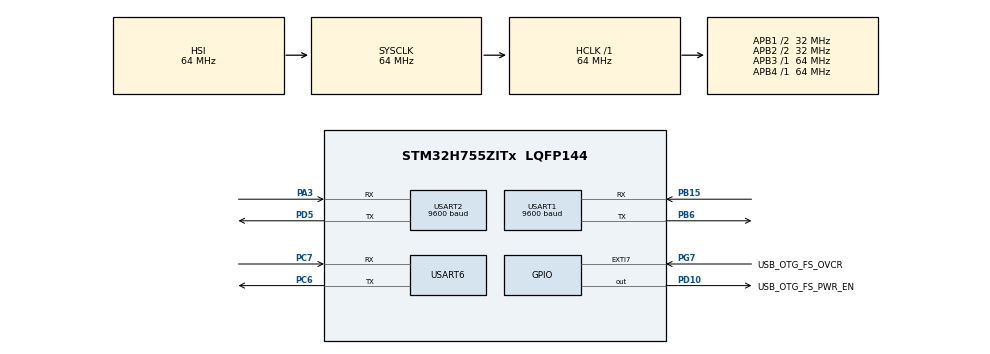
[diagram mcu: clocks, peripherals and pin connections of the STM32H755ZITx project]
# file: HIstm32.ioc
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CortexM4.IPs=FATFS_M4\:I,FREERTOS_M4\:I,IWDG2\:I,RCC,WWDG2\:I,DMA,BDMA,MDMA,NVIC2\:I,ETH,DEBUG,PDM2PCM_M4\:I,PWR,RESMGR_UTILITY,SYS_M4\:I,USB_DEVICE_M4\:I,USB_HOST_M4\:I,CORTEX_M4\:I,GPIO,OPENAMP_M4\:I,VREFBUF,NUCLEO-H755ZI-Q
CortexM7.IPs=FATFS_M7\:I,FREERTOS_M7\:I,IWDG1\:I,RCC\:I,WWDG1\:I,DMA\:I,BDMA\:I,MDMA\:I,NVIC1\:I,ETH\:I,USART3\:I,USB_OTG_FS\:I,USB_OTG_FS1\:I,SYS\:I,CORTEX_M7\:I,DEBUG\:I,PDM2PCM_M7\:I,PWR\:I,RESMGR_UTILITY\:I,USB_DEVICE_M7\:I,USB_HOST_M7\:I,GPIO\:I,OPENAMP_M7\:I,VREFBUF\:I,NUCLEO-H755ZI-Q\:I,USART1\:I,USART2\:I,USART6\:I
Mcu.Family=STM32H7
Mcu.Name=STM32H755ZITx
Mcu.Package=LQFP144
NUCLEO-H755ZI-Q.BUTTON=1
NUCLEO-H755ZI-Q.LD1=true
NUCLEO-H755ZI-Q.LD2=true
NUCLEO-H755ZI-Q.LD3=true
NUCLEO-H755ZI-Q.VCP=true
NVIC1.EXTI15_10_IRQn=true\:0\:0\:false\:false\:true\:false\:true\:true
NVIC1.PriorityGroup=NVIC_PRIORITYGROUP_4
NVIC1.USART1_IRQn=true\:0\:0\:false\:false\:true\:true\:true\:true
NVIC1.USART2_IRQn=true\:0\:0\:false\:false\:true\:true\:true\:true
NVIC2.PriorityGroup=NVIC_PRIORITYGROUP_4
PA1.PinAttribute=CortexM7
PA1.Signal=ETH_REF_CLK
PA11.PinAttribute=CortexM7
PA11.Signal=USB_OTG_FS_DM
PA12.PinAttribute=CortexM7
PA12.Signal=USB_OTG_FS_DP
PA2.PinAttribute=CortexM7
PA2.Signal=ETH_MDIO
PA3.Mode=Asynchronous
PA3.PinAttribute=CortexM7
PA3.Signal=USART2_RX
PA7.PinAttribute=CortexM7
PA7.Signal=ETH_CRS_DV
PA8.PinAttribute=CortexM7
PA8.Signal=USB_OTG_FS_SOF
PA9.PinAttribute=CortexM7
PA9.Signal=USB_OTG_FS_VBUS
PB13.PinAttribute=CortexM7
PB13.Signal=ETH_TXD1
PB15.Mode=Asynchronous
PB15.PinAttribute=CortexM7
PB15.Signal=USART1_RX
PB6.Mode=Asynchronous
PB6.PinAttribute=CortexM7
PB6.Signal=USART1_TX
PC1.PinAttribute=CortexM7
PC1.Signal=ETH_MDC
PC14-OSC32_IN\ (OSC32_IN).PinAttribute=Free
PC14-OSC32_IN\ (OSC32_IN).Signal=RCC_OSC32_IN
PC15-OSC32_OUT\ (OSC32_OUT).PinAttribute=Free
PC15-OSC32_OUT\ (OSC32_OUT).Signal=RCC_OSC32_OUT
PC4.PinAttribute=CortexM7
PC4.Signal=ETH_RXD0
PC5.PinAttribute=CortexM7
PC5.Signal=ETH_RXD1
PC6.Mode=Asynchronous
PC6.PinAttribute=CortexM7
PC6.Signal=USART6_TX
PC7.Mode=Asynchronous
PC7.PinAttribute=CortexM7
PC7.Signal=USART6_RX
PD10.GPIO_Label=USB_OTG_FS_PWR_EN
PD10.PinAttribute=Free
PD10.Signal=GPIO_Output
PD5.Mode=Asynchronous
PD5.PinAttribute=CortexM7
PD5.Signal=USART2_TX
PD8.Signal=USART3_TX
PD9.Signal=USART3_RX
PG11.PinAttribute=CortexM7
PG11.Signal=ETH_TX_EN
PG13.PinAttribute=CortexM7
PG13.Signal=ETH_TXD0
PG7.GPIO_Label=USB_OTG_FS_OVCR
PG7.PinAttribute=Free
PG7.Signal=GPXTI7
PH0-OSC_IN\ (PH0).PinAttribute=Free
PH0-OSC_IN\ (PH0).Signal=RCC_OSC_IN
PH1-OSC_OUT\ (PH1).PinAttribute=Free
PH1-OSC_OUT\ (PH1).Signal=RCC_OSC_OUT
ProjectManager.HeapSize=M4-0x200,M7-0x200
ProjectManager.StackSize=M4-0x400,M7-0x400
ProjectManager.TargetToolchain=STM32CubeIDE
RCC.ADCFreq_Value=129000000
RCC.APB1Freq_Value=32000000
RCC.APB2Freq_Value=32000000
RCC.APB3Freq_Value=64000000
RCC.APB4Freq_Value=64000000
RCC.CortexFreq_Value=64000000
RCC.D2PPRE1=RCC_APB1_DIV2
RCC.D2PPRE2=RCC_APB2_DIV2
RCC.DIVM1=5
RCC.DIVN1=48
RCC.DIVQ1=5
RCC.HCLKFreq_Value=64000000
RCC.PLL2FRACN=0
RCC.PLL3FRACN=0
RCC.PLLFRACN=0
RCC.SYSCLKFreq_VALUE=64000000
RCC.SupplySource=PWR_DIRECT_SMPS_SUPPLY
RCC.USBFreq_Value=122880000
USART1.BaudRate=9600
USART1.VirtualMode-Asynchronous=VM_ASYNC
USART2.BaudRate=9600
USART2.VirtualMode-Asynchronous=VM_ASYNC
USART6.VirtualMode-Asynchronous=VM_ASYNC
VP_NUCLEO-H755ZI-Q_VS_BSP_COMMON.Mode=COMMON
VP_SYS_M4_VS_Systick.Mode=SysTick
board=NUCLEO-H755ZI-Q

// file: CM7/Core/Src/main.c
/* USER CODE BEGIN Header */
/**
  ******************************************************************************
  * @file           : main.c
  * @brief          : Main program body
  ******************************************************************************
  * @attention
  *
  * Copyright (c) 2026 STMicroelectronics.
  * All rights reserved.
  *
  * This software is licensed under terms that can be found in the LICENSE file
  * in the root directory of this software component.
  * If no LICENSE file comes with this software, it is provided AS-IS.
  *
  ******************************************************************************
  */
/* USER CODE END Header */
#include "main.h"

/* USER CODE BEGIN Includes */
#include <stdio.h>
/* USER CODE END Includes */

/* USER CODE BEGIN PD */

/* DUAL_CORE_BOOT_SYNC_SEQUENCE: Define for dual core boot synchronization    */
/*                             demonstration code based on hardware semaphore */
/* This define is present in both CM7/CM4 projects                            */
/* To comment when developping/debugging on a single core                     */
#define DUAL_CORE_BOOT_SYNC_SEQUENCE

#if defined(DUAL_CORE_BOOT_SYNC_SEQUENCE)
#ifndef HSEM_ID_0
#define HSEM_ID_0 (0U) /* HW semaphore 0*/
#endif
#endif /* DUAL_CORE_BOOT_SYNC_SEQUENCE */

/* USER CODE END PD */

COM_InitTypeDef BspCOMInit;

UART_HandleTypeDef huart1;
UART_HandleTypeDef huart2;
UART_HandleTypeDef huart6;

/* USER CODE BEGIN PV */
#include <string.h>

extern UART_HandleTypeDef huart1;
extern UART_HandleTypeDef huart2;

float em2m_voltage = 0.0f;
float em2m_current = 0.0f;
float em2m_power   = 0.0f;

float em4m_voltage = 0.0f;
float em4m_current = 0.0f;
float em4m_power   = 0.0f;
/* USER CODE END PV */

void SystemClock_Config(void);
static void MX_GPIO_Init(void);
static void MX_USART1_UART_Init(void);
static void MX_USART2_UART_Init(void);
static void MX_USART6_UART_Init(void);

/* USER CODE BEGIN 0 */
uint16_t Modbus_CRC16(uint8_t *buffer, uint16_t len) {
    uint16_t crc = 0xFFFF;
    for (uint16_t pos = 0; pos < len; pos++) {
        crc ^= (uint16_t)buffer[pos];
        for (int i = 8; i != 0; i--) {
            if ((crc & 0x0001) != 0) {
                crc >>= 1;
                crc ^= 0xA001;
            } else {
                crc >>= 1;
            }
        }
    }
    return crc;
}

// EM4M is Big Endian (ABCD) -> convert to STM32 (DCBA)
float EM4M_BytesToFloat(uint8_t *data) {
    float val;
    uint8_t *val_ptr = (uint8_t*)&val;
    val_ptr[0] = data[3]; // LSB
    val_ptr[1] = data[2];
    val_ptr[2] = data[1];
    val_ptr[3] = data[0]; // MSB
    return val;
}

// EM2M is Swapped (CDAB) -> convert to STM32 (DCBA)
float EM2M_BytesToFloat(uint8_t *data) {
    float val;
    uint8_t *val_ptr = (uint8_t*)&val;
    val_ptr[0] = data[1]; // D
    val_ptr[1] = data[0]; // C
    val_ptr[2] = data[3]; // B
    val_ptr[3] = data[2]; // A
    return val;
}

// Function to poll the EM2M Meter
uint8_t Read_EM2M(UART_HandleTypeDef *huart, uint8_t slave_id, uint16_t reg_addr, float *out_value) {
    uint8_t request[8] = {slave_id, 0x04, (reg_addr >> 8) & 0xFF, reg_addr & 0xFF, 0x00, 0x02, 0, 0};
    uint16_t crc = Modbus_CRC16(request, 6);
    request[6] = crc & 0xFF; request[7] = (crc >> 8) & 0xFF;

    if (HAL_UART_Transmit(huart, request, 8, 100) != HAL_OK) return 0;
    uint8_t response[9];
    if (HAL_UART_Receive(huart, response, 9, 200) != HAL_OK) return 0;

    uint16_t rx_crc = (response[8] << 8) | response[7];
    if (Modbus_CRC16(response, 7) != rx_crc) return 0;

    *out_value = EM2M_BytesToFloat(&response[3]);
    return 1;
}

// Function to poll the EM4M Meter
uint8_t Read_EM4M(UART_HandleTypeDef *huart, uint8_t slave_id, uint16_t reg_addr, float *out_value) {
    uint8_t request[8] = {slave_id, 0x04, (reg_addr >> 8) & 0xFF, reg_addr & 0xFF, 0x00, 0x02, 0, 0};
    uint16_t crc = Modbus_CRC16(request, 6);
    request[6] = crc & 0xFF; request[7] = (crc >> 8) & 0xFF;

    if (HAL_UART_Transmit(huart, request, 8, 100) != HAL_OK) return 0;
    uint8_t response[9];
    if (HAL_UART_Receive(huart, response, 9, 200) != HAL_OK) return 0;

    uint16_t rx_crc = (response[8] << 8) | response[7];
    if (Modbus_CRC16(response, 7) != rx_crc) return 0;

    *out_value = EM4M_BytesToFloat(&response[3]);
    return 1;
}
/* USER CODE END 0 */

int main(void)
{
  /* USER CODE BEGIN 1 */
  char tx_buffer[128];
  /* USER CODE END 1 */
/* USER CODE BEGIN Boot_Mode_Sequence_0 */
#if defined(DUAL_CORE_BOOT_SYNC_SEQUENCE)
  int32_t timeout;
#endif /* DUAL_CORE_BOOT_SYNC_SEQUENCE */
/* USER CODE END Boot_Mode_Sequence_0 */

/* USER CODE BEGIN Boot_Mode_Sequence_1 */
#if defined(DUAL_CORE_BOOT_SYNC_SEQUENCE)
  /* Wait until CPU2 boots and enters in stop mode or timeout*/
  timeout = 0xFFFF;
  while((__HAL_RCC_GET_FLAG(RCC_FLAG_D2CKRDY) != RESET) && (timeout-- > 0));
  if ( timeout < 0 )
  {
  Error_Handler();
  }
#endif /* DUAL_CORE_BOOT_SYNC_SEQUENCE */
/* USER CODE END Boot_Mode_Sequence_1 */
  /* MCU Configuration--------------------------------------------------------*/

  /* Reset of all peripherals, Initializes the Flash interface and the Systick. */
  HAL_Init();

  /* Configure the system clock */
  SystemClock_Config();
/* USER CODE BEGIN Boot_Mode_Sequence_2 */
#if defined(DUAL_CORE_BOOT_SYNC_SEQUENCE)
/* When system initialization is finished, Cortex-M7 will release Cortex-M4 by means of
HSEM notification */
/*HW semaphore Clock enable*/
__HAL_RCC_HSEM_CLK_ENABLE();
/*Take HSEM */
HAL_HSEM_FastTake(HSEM_ID_0);
/*Release HSEM in order to notify the CPU2(CM4)*/
HAL_HSEM_Release(HSEM_ID_0,0);
/* wait until CPU2 wakes up from stop mode */
timeout = 0xFFFF;
while((__HAL_RCC_GET_FLAG(RCC_FLAG_D2CKRDY) == RESET) && (timeout-- > 0));
if ( timeout < 0 )
{
Error_Handler();
}
#endif /* DUAL_CORE_BOOT_SYNC_SEQUENCE */
/* USER CODE END Boot_Mode_Sequence_2 */

  /* Initialize all configured peripherals */
  MX_GPIO_Init();
  MX_USART1_UART_Init();
  MX_USART2_UART_Init();
  MX_USART6_UART_Init();

  /* Initialize leds */
  BSP_LED_Init(LED_GREEN);
  BSP_LED_Init(LED_YELLOW);
  BSP_LED_Init(LED_RED);

  /* Initialize USER push-button, will be used to trigger an interrupt each time it's pressed.*/
  BSP_PB_Init(BUTTON_USER, BUTTON_MODE_EXTI);

  /* Initialize COM1 port (115200, 8 bits (7-bit data + 1 stop bit), no parity */
  BspCOMInit.BaudRate   = 115200;
  BspCOMInit.WordLength = COM_WORDLENGTH_8B;
  BspCOMInit.StopBits   = COM_STOPBITS_1;
  BspCOMInit.Parity     = COM_PARITY_NONE;
  BspCOMInit.HwFlowCtl  = COM_HWCONTROL_NONE;
  if (BSP_COM_Init(COM1, &BspCOMInit) != BSP_ERROR_NONE)
  {
    Error_Handler();
  }

  /* Infinite loop */
    /* USER CODE BEGIN WHILE */

    while (1)
    {
        // Poll EM2M (Single Phase Meter) on USART2
        // Registers: Voltage L-N (0x14), Current (0x16), Active Power (0x0E)[cite: 10]
        Read_EM2M(&huart2, 1, 0x0014, &em2m_voltage);
        HAL_Delay(50);

        Read_EM2M(&huart2, 1, 0x0016, &em2m_current);
        HAL_Delay(50);

        Read_EM2M(&huart2, 1, 0x000E, &em2m_power);
        HAL_Delay(100);

        // Poll EM4M (Three Phase Meter) on USART1
        // Registers: Voltage V1N (0x00), Current I1 (0x10), Active Power kW1 (0x18)[cite: 7]
        Read_EM4M(&huart1, 1, 0x0000, &em4m_voltage);
        HAL_Delay(50);

        Read_EM4M(&huart1, 1, 0x0010, &em4m_current);
        HAL_Delay(50);

        Read_EM4M(&huart1, 1, 0x0018, &em4m_power);

        // --- Format and transmit data to Raspberry Pi ---
        snprintf(tx_buffer, sizeof(tx_buffer),
                 "EM2M: V=%.2f, I=%.2f, P=%.2f | EM4M: V=%.2f, I=%.2f, P=%.2f\n",
                 em2m_voltage, em2m_current, em2m_power,
                 em4m_voltage, em4m_current, em4m_power);

        HAL_UART_Transmit(&huart6, (uint8_t*)tx_buffer, strlen(tx_buffer), 100);

        HAL_Delay(1000); // Wait 1 second before starting the next full polling cycle
      /* USER CODE END WHILE */

    }
}

void SystemClock_Config(void)
{
  RCC_OscInitTypeDef RCC_OscInitStruct = {0};
  RCC_ClkInitTypeDef RCC_ClkInitStruct = {0};

  /** Supply configuration update enable
  */
  HAL_PWREx_ConfigSupply(PWR_DIRECT_SMPS_SUPPLY);

  /** Configure the main internal regulator output voltage
  */
  __HAL_PWR_VOLTAGESCALING_CONFIG(PWR_REGULATOR_VOLTAGE_SCALE3);

  while(!__HAL_PWR_GET_FLAG(PWR_FLAG_VOSRDY)) {}

  /** Initializes the RCC Oscillators according to the specified parameters
  * in the RCC_OscInitTypeDef structure.
  */
  RCC_OscInitStruct.OscillatorType = RCC_OSCILLATORTYPE_HSI;
  RCC_OscInitStruct.HSIState = RCC_HSI_DIV1;
  RCC_OscInitStruct.HSICalibrationValue = RCC_HSICALIBRATION_DEFAULT;
  RCC_OscInitStruct.PLL.PLLState = RCC_PLL_NONE;
  if (HAL_RCC_OscConfig(&RCC_OscInitStruct) != HAL_OK)
  {
    Error_Handler();
  }

  /** Initializes the CPU, AHB and APB buses clocks
  */
  RCC_ClkInitStruct.ClockType = RCC_CLOCKTYPE_HCLK|RCC_CLOCKTYPE_SYSCLK
                              |RCC_CLOCKTYPE_PCLK1|RCC_CLOCKTYPE_PCLK2
                              |RCC_CLOCKTYPE_D3PCLK1|RCC_CLOCKTYPE_D1PCLK1;
  RCC_ClkInitStruct.SYSCLKSource = RCC_SYSCLKSOURCE_HSI;
  RCC_ClkInitStruct.SYSCLKDivider = RCC_SYSCLK_DIV1;
  RCC_ClkInitStruct.AHBCLKDivider = RCC_HCLK_DIV1;
  RCC_ClkInitStruct.APB3CLKDivider = RCC_APB3_DIV1;
  RCC_ClkInitStruct.APB1CLKDivider = RCC_APB1_DIV2;
  RCC_ClkInitStruct.APB2CLKDivider = RCC_APB2_DIV2;
  RCC_ClkInitStruct.APB4CLKDivider = RCC_APB4_DIV1;

  if (HAL_RCC_ClockConfig(&RCC_ClkInitStruct, FLASH_LATENCY_1) != HAL_OK)
  {
    Error_Handler();
  }
}

static void MX_USART1_UART_Init(void)
{

  huart1.Instance = USART1;
  huart1.Init.BaudRate = 9600;
  huart1.Init.WordLength = UART_WORDLENGTH_8B;
  huart1.Init.StopBits = UART_STOPBITS_1;
  huart1.Init.Parity = UART_PARITY_NONE;
  huart1.Init.Mode = UART_MODE_TX_RX;
  huart1.Init.HwFlowCtl = UART_HWCONTROL_NONE;
  huart1.Init.OverSampling = UART_OVERSAMPLING_16;
  huart1.Init.OneBitSampling = UART_ONE_BIT_SAMPLE_DISABLE;
  huart1.Init.ClockPrescaler = UART_PRESCALER_DIV1;
  huart1.AdvancedInit.AdvFeatureInit = UART_ADVFEATURE_NO_INIT;
  if (HAL_UART_Init(&huart1) != HAL_OK)
  {
    Error_Handler();
  }
  if (HAL_UARTEx_SetTxFifoThreshold(&huart1, UART_TXFIFO_THRESHOLD_1_8) != HAL_OK)
  {
    Error_Handler();
  }
  if (HAL_UARTEx_SetRxFifoThreshold(&huart1, UART_RXFIFO_THRESHOLD_1_8) != HAL_OK)
  {
    Error_Handler();
  }
  if (HAL_UARTEx_DisableFifoMode(&huart1) != HAL_OK)
  {
    Error_Handler();
  }

}

static void MX_USART2_UART_Init(void)
{

  huart2.Instance = USART2;
  huart2.Init.BaudRate = 9600;
  huart2.Init.WordLength = UART_WORDLENGTH_8B;
  huart2.Init.StopBits = UART_STOPBITS_1;
  huart2.Init.Parity = UART_PARITY_NONE;
  huart2.Init.Mode = UART_MODE_TX_RX;
  huart2.Init.HwFlowCtl = UART_HWCONTROL_NONE;
  huart2.Init.OverSampling = UART_OVERSAMPLING_16;
  huart2.Init.OneBitSampling = UART_ONE_BIT_SAMPLE_DISABLE;
  huart2.Init.ClockPrescaler = UART_PRESCALER_DIV1;
  huart2.AdvancedInit.AdvFeatureInit = UART_ADVFEATURE_NO_INIT;
  if (HAL_UART_Init(&huart2) != HAL_OK)
  {
    Error_Handler();
  }
  if (HAL_UARTEx_SetTxFifoThreshold(&huart2, UART_TXFIFO_THRESHOLD_1_8) != HAL_OK)
  {
    Error_Handler();
  }
  if (HAL_UARTEx_SetRxFifoThreshold(&huart2, UART_RXFIFO_THRESHOLD_1_8) != HAL_OK)
  {
    Error_Handler();
  }
  if (HAL_UARTEx_DisableFifoMode(&huart2) != HAL_OK)
  {
    Error_Handler();
  }

}

static void MX_USART6_UART_Init(void)
{

  huart6.Instance = USART6;
  huart6.Init.BaudRate = 115200;
  huart6.Init.WordLength = UART_WORDLENGTH_8B;
  huart6.Init.StopBits = UART_STOPBITS_1;
  huart6.Init.Parity = UART_PARITY_NONE;
  huart6.Init.Mode = UART_MODE_TX_RX;
  huart6.Init.HwFlowCtl = UART_HWCONTROL_NONE;
  huart6.Init.OverSampling = UART_OVERSAMPLING_16;
  huart6.Init.OneBitSampling = UART_ONE_BIT_SAMPLE_DISABLE;
  huart6.Init.ClockPrescaler = UART_PRESCALER_DIV1;
  huart6.AdvancedInit.AdvFeatureInit = UART_ADVFEATURE_NO_INIT;
  if (HAL_UART_Init(&huart6) != HAL_OK)
  {
    Error_Handler();
  }
  if (HAL_UARTEx_SetTxFifoThreshold(&huart6, UART_TXFIFO_THRESHOLD_1_8) != HAL_OK)
  {
    Error_Handler();
  }
  if (HAL_UARTEx_SetRxFifoThreshold(&huart6, UART_RXFIFO_THRESHOLD_1_8) != HAL_OK)
  {
    Error_Handler();
  }
  if (HAL_UARTEx_DisableFifoMode(&huart6) != HAL_OK)
  {
    Error_Handler();
  }

}

static void MX_GPIO_Init(void)
{
  GPIO_InitTypeDef GPIO_InitStruct = {0};

  /* GPIO Ports Clock Enable */
  __HAL_RCC_GPIOC_CLK_ENABLE();
  __HAL_RCC_GPIOA_CLK_ENABLE();
  __HAL_RCC_GPIOB_CLK_ENABLE();
  __HAL_RCC_GPIOD_CLK_ENABLE();
  __HAL_RCC_GPIOG_CLK_ENABLE();

  /*Configure GPIO pins : PC1 PC4 PC5 */
  GPIO_InitStruct.Pin = GPIO_PIN_1|GPIO_PIN_4|GPIO_PIN_5;
  GPIO_InitStruct.Mode = GPIO_MODE_AF_PP;
  GPIO_InitStruct.Pull = GPIO_NOPULL;
  GPIO_InitStruct.Speed = GPIO_SPEED_FREQ_HIGH;
  GPIO_InitStruct.Alternate = GPIO_AF11_ETH;
  HAL_GPIO_Init(GPIOC, &GPIO_InitStruct);

  /*Configure GPIO pins : PA1 PA2 PA7 */
  GPIO_InitStruct.Pin = GPIO_PIN_1|GPIO_PIN_2|GPIO_PIN_7;
  GPIO_InitStruct.Mode = GPIO_MODE_AF_PP;
  GPIO_InitStruct.Pull = GPIO_NOPULL;
  GPIO_InitStruct.Speed = GPIO_SPEED_FREQ_HIGH;
  GPIO_InitStruct.Alternate = GPIO_AF11_ETH;
  HAL_GPIO_Init(GPIOA, &GPIO_InitStruct);

  /*Configure GPIO pin : PB13 */
  GPIO_InitStruct.Pin = GPIO_PIN_13;
  GPIO_InitStruct.Mode = GPIO_MODE_AF_PP;
  GPIO_InitStruct.Pull = GPIO_NOPULL;
  GPIO_InitStruct.Speed = GPIO_SPEED_FREQ_HIGH;
  GPIO_InitStruct.Alternate = GPIO_AF11_ETH;
  HAL_GPIO_Init(GPIOB, &GPIO_InitStruct);

  /*Configure GPIO pins : PA8 PA11 PA12 */
  GPIO_InitStruct.Pin = GPIO_PIN_8|GPIO_PIN_11|GPIO_PIN_12;
  GPIO_InitStruct.Mode = GPIO_MODE_AF_PP;
  GPIO_InitStruct.Pull = GPIO_NOPULL;
  GPIO_InitStruct.Speed = GPIO_SPEED_FREQ_LOW;
  GPIO_InitStruct.Alternate = GPIO_AF10_OTG1_FS;
  HAL_GPIO_Init(GPIOA, &GPIO_InitStruct);

  /*Configure GPIO pins : PG11 PG13 */
  GPIO_InitStruct.Pin = GPIO_PIN_11|GPIO_PIN_13;
  GPIO_InitStruct.Mode = GPIO_MODE_AF_PP;
  GPIO_InitStruct.Pull = GPIO_NOPULL;
  GPIO_InitStruct.Speed = GPIO_SPEED_FREQ_HIGH;
  GPIO_InitStruct.Alternate = GPIO_AF11_ETH;
  HAL_GPIO_Init(GPIOG, &GPIO_InitStruct);

}

void Error_Handler(void)
{
  __disable_irq();
  while (1)
  {
  }
}
